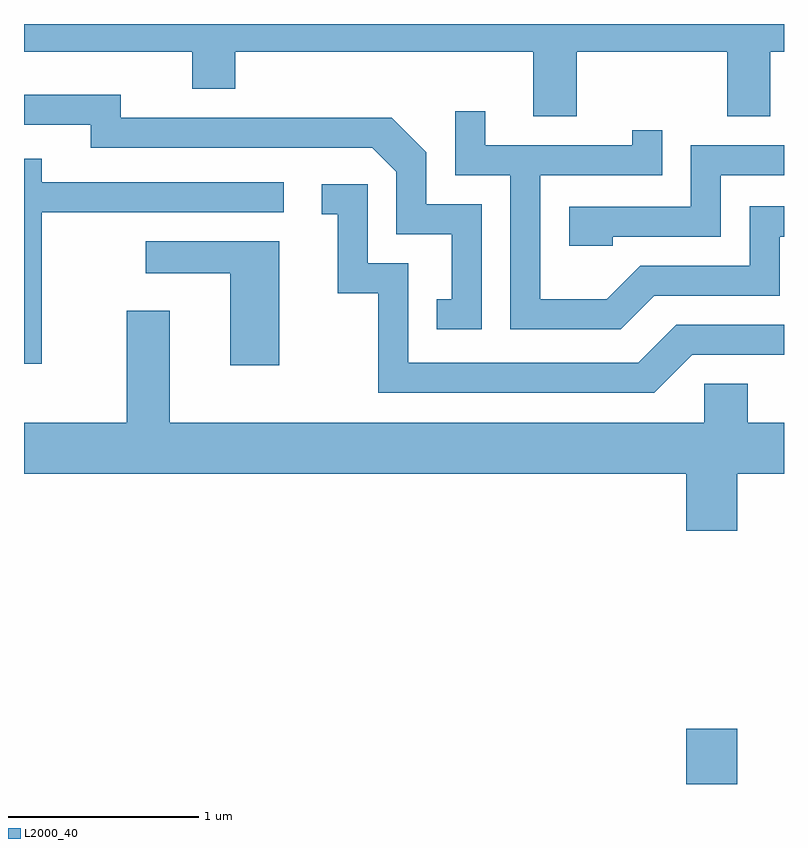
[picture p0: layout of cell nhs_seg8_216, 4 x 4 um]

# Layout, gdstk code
import gdstk
lib = gdstk.Library(unit=1e-6, precision=1e-09)
def R(c, l, rs):  # rectangles x0, y0, x1, y1
    for r in rs: c.add(gdstk.rectangle(r[:2], r[2:], *l))
def P(c, l, *ps):  # polygons
    for p in ps: c.add(gdstk.Polygon(p, *l))
L2000_40 = (2000, 40)

nhs_seg8_216 = lib.new_cell('nhs_seg8_216')
R(nhs_seg8_216, L2000_40, [(195.096,1830.342,195.364,1830.634)])
P(nhs_seg8_216, L2000_40, [(194.519,1834.196),(195.311,1834.196),(195.311,1833.856),(195.539,1833.856),(195.539,1834.196),(195.611,1834.196),(195.611,1834.342),(191.611,1834.342),(191.611,1834.196),(192.496,1834.196),(192.496,1834.001),(192.724,1834.001),(192.724,1834.196),(194.291,1834.196),(194.291,1833.856),(194.519,1833.856)],
  [(194.019,1833.394),(193.729,1833.394),(193.729,1833.667),(193.547,1833.849),(192.119,1833.849),(192.119,1833.969),(191.611,1833.969),(191.611,1833.811),(191.961,1833.811),(191.961,1833.691),(193.444,1833.691),(193.571,1833.564),(193.571,1833.236),(193.861,1833.236),(193.861,1832.894),(193.783,1832.894),(193.783,1832.736),(194.019,1832.736)],
  [(194.927,1832.911),(195.589,1832.911),(195.589,1833.221),(195.611,1833.221),(195.611,1833.384),(195.431,1833.384),(195.431,1833.069),(194.854,1833.069),(194.679,1832.894),(194.329,1832.894),(194.329,1833.546),(194.969,1833.546),(194.969,1833.783),(194.811,1833.783),(194.811,1833.704),(194.039,1833.704),(194.039,1833.883),(193.881,1833.883),(193.881,1833.546),(194.171,1833.546),(194.171,1832.736),(194.752,1832.736)],
  [(194.709,1833.221),(195.279,1833.221),(195.279,1833.546),(195.611,1833.546),(195.611,1833.704),(195.121,1833.704),(195.121,1833.379),(194.481,1833.379),(194.481,1833.176),(194.709,1833.176)],
  [(191.704,1833.351),(192.978,1833.351),(192.978,1833.509),(191.704,1833.509),(191.704,1833.633),(191.611,1833.633),(191.611,1832.553),(191.704,1832.553)],
  [(195.127,1832.601),(195.611,1832.601),(195.611,1832.759),(195.044,1832.759),(194.844,1832.559),(193.634,1832.559),(193.634,1833.084),(193.419,1833.084),(193.419,1833.499),(193.178,1833.499),(193.178,1833.341),(193.261,1833.341),(193.261,1832.926),(193.476,1832.926),(193.476,1832.401),(194.927,1832.401)],
  [(192.954,1833.199),(192.253,1833.199),(192.253,1833.031),(192.696,1833.031),(192.696,1832.546),(192.954,1832.546)],
  [(195.364,1831.976),(195.611,1831.976),(195.611,1832.244),(195.419,1832.244),(195.419,1832.449),(195.191,1832.449),(195.191,1832.244),(192.379,1832.244),(192.379,1832.834),(192.151,1832.834),(192.151,1832.244),(191.611,1832.244),(191.611,1831.976),(195.096,1831.976),(195.096,1831.676),(195.364,1831.676)])

lib.write_gds('nhs_seg8_216.gds')
